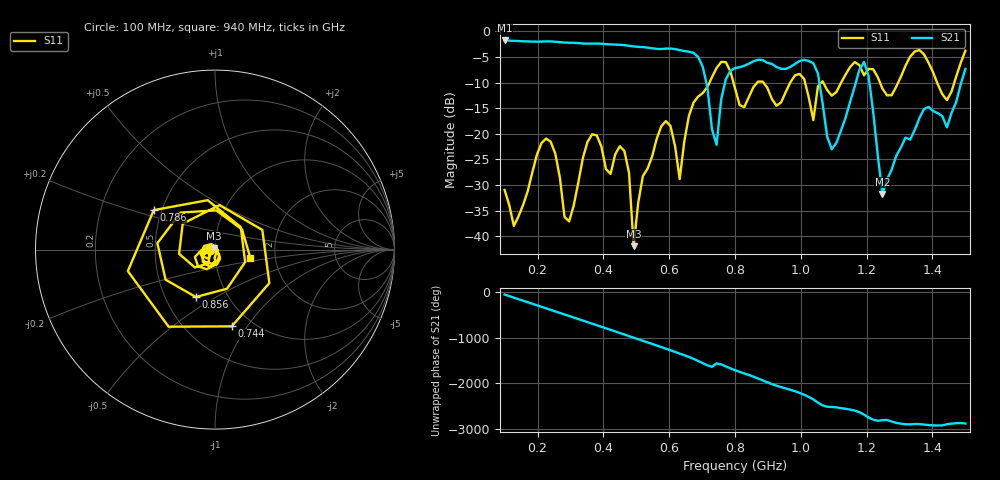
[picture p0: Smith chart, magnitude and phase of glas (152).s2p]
! NanoVNA-App
! Date: 2025-09-25 15:56:39
! Start: 100MHz Stop: 1,5GHz Points: 101
! S-Parameter data: F S11 S21 S12 S22
# Hz S RI R 50
!  Frequency  S11_Real  S11_Imag  S21_Real  S21_Imag  S12_Real  S12_Imag  S22_Real  S22_Imag
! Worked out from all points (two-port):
!   101 points, 100 MHz to 1.5 GHz, reference 50 ohm
!   highest |S21| = -1.80 dB at 100 MHz (marker M1); lowest = -31.8 dB at 1.248 GHz (marker M2)
!   |S21| within 3 dB of the highest: start of sweep to 684.3 MHz
!   lowest |S11| = -41.9 dB at 492 MHz (marker M3), VSWR 1.02, Z = 49.5 + j0.634 ohm
!   |S11| at or under -10 dB: start of sweep to 722.5 MHz; 795.3 MHz to 867.8 MHz (72.54 MHz wide, 8.72 % of centre); 886.2 MHz to 967.9 MHz (81.75 MHz wide, 8.82 % of centre)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
!   S12 and S22 are empty: the file has one direction only
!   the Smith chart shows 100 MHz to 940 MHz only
!   S11 on the Smith chart (normalised r, x): 100 MHz: 0.95, -0.01; 744 MHz: 0.80, -0.85; 786 MHz: 0.45, +0.24; 856 MHz: 0.71, -0.41; 940 MHz: 1.48, -0.14
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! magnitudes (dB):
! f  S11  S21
! 100 MHz  -31.0  -1.8
! 128 MHz  -38.0  -1.9
! 226 MHz  -20.9  -2.0
! 296 MHz  -37.1  -2.2
! 338 MHz  -24.7  -2.4
! 464 MHz  -23.4  -2.7
! 492 MHz  -41.9  -3.0
! 576 MHz  -18.5  -3.5
! 632 MHz  -28.8  -3.7
! 702 MHz  -12.1  -6.9
! 744 MHz  -7.2  -22.1
! 786 MHz  -7.8  -7.7
! 800 MHz  -11.1  -7.2
! 856 MHz  -10.9  -5.9
! 940 MHz  -13.9  -7.3
! 996 MHz  -8.3  -5.8
! 1.038 GHz  -17.3  -6.2
! 1.094 GHz  -12.6  -23.0
! 1.192 GHz  -8.6  -6.0
! 1.248 GHz  -11.2  -31.8
! 1.276 GHz  -12.5  -27.0
! 1.5 GHz  -3.8  -7.3
